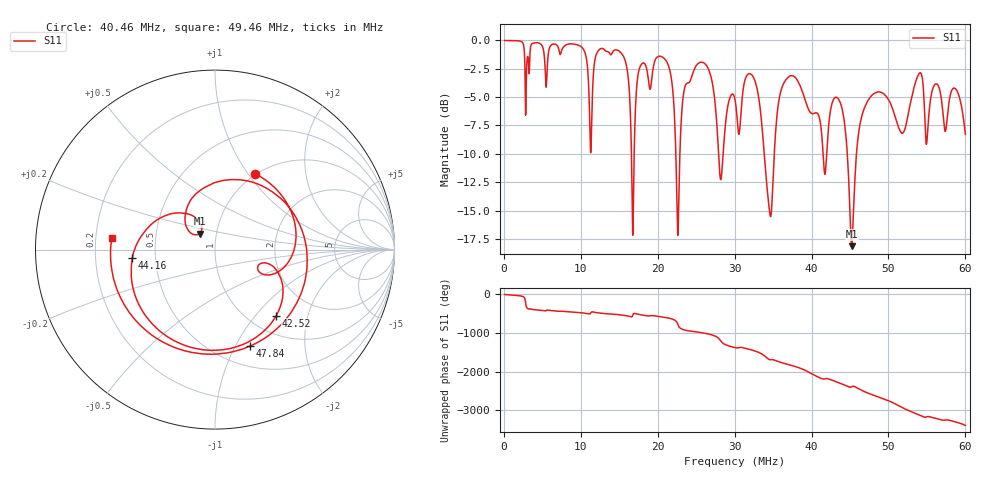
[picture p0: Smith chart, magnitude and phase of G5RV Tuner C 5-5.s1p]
# Hz S RI R 50
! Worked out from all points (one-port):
!   3030 points, 100 kHz to 60 MHz, reference 50 ohm
!   lowest |S11| = -18.1 dB at 45.23 MHz (marker M1), VSWR 1.28, Z = 41.5 + j7.51 ohm
!   |S11| at or under -10 dB: 27.91 MHz to 28.51 MHz (590.7 kHz wide, 2.09 % of centre); 33.84 MHz to 35.16 MHz (1.313 MHz wide, 3.81 % of centre); 44.64 MHz to 45.83 MHz (1.19 MHz wide, 2.63 % of centre)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
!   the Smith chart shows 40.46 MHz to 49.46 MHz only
!   S11 on the Smith chart (normalised r, x): 40.46 MHz: 0.99, +1.08; 42.52 MHz: 1.30, -1.29; 44.16 MHz: 0.37, -0.04; 47.84 MHz: 0.71, -1.14; 49.46 MHz: 0.27, +0.05
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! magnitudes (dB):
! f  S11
! 100 kHz  0.0
! 7.595 MHz  -0.7
! 10.4 MHz  -0.9
! 11.29 MHz  -9.9
! 15.09 MHz  -1.0
! 16.77 MHz  -17.2
! 17.7 MHz  -2.3
! 21.28 MHz  -2.0
! 22.56 MHz  -16.5
! 23.41 MHz  -4.5
! 25.04 MHz  -2.2
! 26.93 MHz  -3.2
! 28.2 MHz  -12.3
! 30.06 MHz  -5.3
! 32.65 MHz  -3.6
! 34.61 MHz  -15.4
! 35.81 MHz  -5.1
! 37.55 MHz  -3.1
! 40.46 MHz  -6.4
! 41.73 MHz  -11.8
! 42.52 MHz  -6.0
! 44.16 MHz  -6.7
! 45.03 MHz  -15.9
! 45.23 MHz  -18.1
! 47.84 MHz  -4.9
! 49.46 MHz  -4.8
! 52.52 MHz  -6.7
! 60 MHz  -8.3
